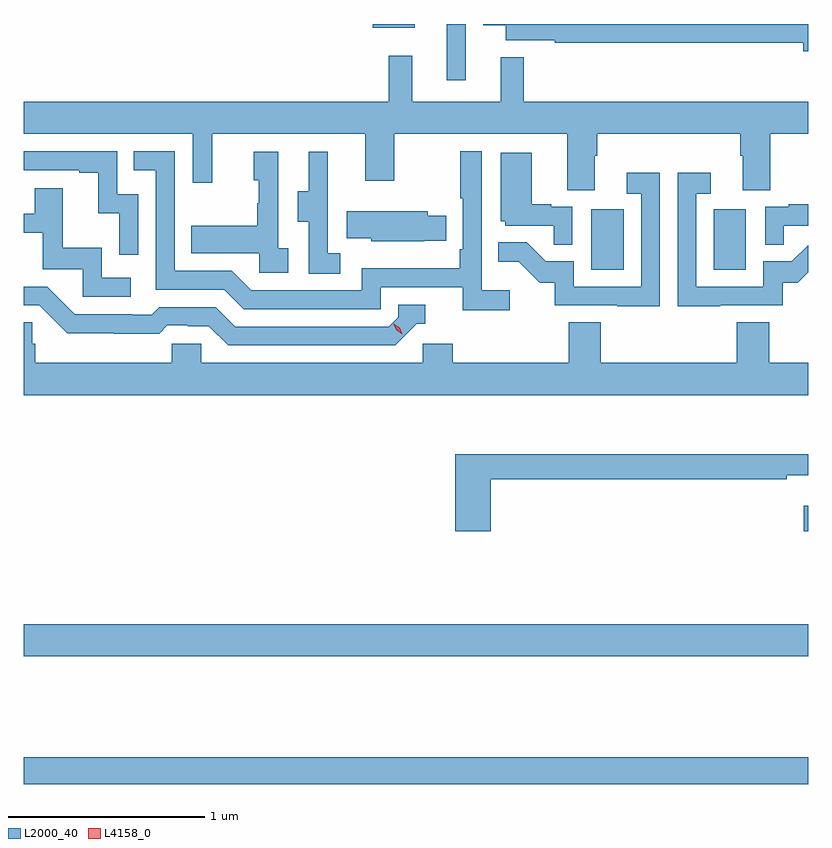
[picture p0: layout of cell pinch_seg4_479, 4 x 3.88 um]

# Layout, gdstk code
import gdstk
lib = gdstk.Library(unit=1e-6, precision=1e-09)
def R(c, l, rs):  # rectangles x0, y0, x1, y1
    for r in rs: c.add(gdstk.rectangle(r[:2], r[2:], *l))
def P(c, l, *ps):  # polygons
    for p in ps: c.add(gdstk.Polygon(p, *l))
L2000_40 = (2000, 40)
L4158_0 = (4158, 0)

pinch_seg4_479 = lib.new_cell('pinch_seg4_479')
R(pinch_seg4_479, L2000_40, [(921.929,749.548,925.929,749.684), (921.929,750.2,925.929,750.364), (925.908,750.838,925.929,750.967), (924.824,752.172,924.988,752.479), (925.448,752.172,925.612,752.479), (924.086,753.138,924.183,753.425), (923.708,753.407,923.923,753.425)])
P(pinch_seg4_479, L2000_40, [(925.929,753.425),(924.272,753.425),(924.272,753.419),(924.386,753.419),(924.386,753.341),(924.638,753.341),(924.638,753.33),(925.904,753.33),(925.904,753.287),(925.929,753.287)],
  [(923.791,753.028),(921.929,753.028),(921.929,752.864),(922.791,752.864),(922.791,752.616),(922.889,752.616),(922.889,752.864),(923.669,752.864),(923.669,752.625),(923.817,752.625),(923.817,752.864),(924.701,752.864),(924.701,752.578),(924.841,752.578),(924.841,752.752),(924.854,752.752),(924.854,752.864),(925.583,752.864),(925.583,752.752),(925.595,752.752),(925.595,752.578),(925.735,752.578),(925.735,752.864),(925.929,752.864),(925.929,753.028),(924.479,753.028),(924.479,753.256),(924.362,753.256),(924.362,753.028),(923.909,753.028),(923.909,753.262),(923.791,753.262)],
  [(924.406,752.068),(924.264,752.068),(924.264,752.776),(924.156,752.776),(924.156,752.536),(924.168,752.536),(924.168,752.275),(924.151,752.275),(924.151,752.179),(923.652,752.179),(923.652,752.067),(923.088,752.067),(922.989,752.166),(922.698,752.166),(922.698,752.775),(922.489,752.775),(922.489,752.679),(922.602,752.679),(922.602,752.07),(922.952,752.07),(923.051,751.971),(923.748,751.971),(923.748,752.082),(924.167,752.082),(924.167,751.966),(924.406,751.966)],
  [(922.512,752.556),(922.404,752.556),(922.404,752.775),(921.929,752.775),(921.929,752.679),(922.211,752.679),(922.211,752.667),(922.307,752.667),(922.307,752.459),(922.416,752.459),(922.416,752.247),(922.512,752.247)],
  [(923.278,752.282),(923.226,752.282),(923.226,752.773),(923.102,752.773),(923.102,752.628),(923.128,752.628),(923.128,752.51),(923.118,752.51),(923.118,752.395),(922.783,752.395),(922.783,752.255),(923.13,752.255),(923.13,752.157),(923.278,752.157)],
  [(923.542,752.255),(923.478,752.255),(923.478,752.559),(923.48,752.559),(923.48,752.773),(923.381,752.773),(923.381,752.571),(923.327,752.571),(923.327,752.416),(923.382,752.416),(923.382,752.152),(923.542,752.152)],
  [(924.726,752.493),(924.62,752.493),(924.62,752.506),(924.52,752.506),(924.52,752.767),(924.362,752.767),(924.362,752.418),(924.384,752.418),(924.384,752.397),(924.631,752.397),(924.631,752.299),(924.726,752.299)],
  [(925.173,752.665),(925.005,752.665),(925.005,752.559),(925.077,752.559),(925.077,752.085),(924.735,752.085),(924.735,752.214),(924.591,752.214),(924.493,752.312),(924.349,752.312),(924.349,752.213),(924.453,752.213),(924.56,752.106),(924.637,752.106),(924.637,751.989),(924.955,751.989),(924.955,751.984),(925.173,751.984)],
  [(925.481,751.989),(925.8,751.989),(925.8,752.106),(925.876,752.106),(925.929,752.159),(925.929,752.297),(925.846,752.214),(925.701,752.214),(925.701,752.085),(925.359,752.085),(925.359,752.559),(925.432,752.559),(925.432,752.665),(925.263,752.665),(925.263,751.984),(925.481,751.984)],
  [(922.474,752.13),(922.326,752.13),(922.326,752.284),(922.127,752.284),(922.127,752.587),(921.983,752.587),(921.983,752.457),(921.929,752.457),(921.929,752.361),(922.025,752.361),(922.025,752.175),(922.23,752.175),(922.23,752.034),(922.474,752.034)],
  [(925.805,752.397),(925.929,752.397),(925.929,752.506),(925.831,752.506),(925.831,752.493),(925.71,752.493),(925.71,752.299),(925.805,752.299)],
  [(923.972,752.319),(924.083,752.319),(924.083,752.448),(923.989,752.448),(923.989,752.47),(923.575,752.47),(923.575,752.333),(923.7,752.333),(923.7,752.318),(923.972,752.318)],
  [(923.934,751.896),(923.977,751.896),(923.977,751.992),(923.838,751.992),(923.838,751.929),(923.79,751.881),(923.007,751.881),(922.908,751.98),(922.619,751.98),(922.58,751.941),(922.481,751.941),(922.481,751.944),(922.188,751.944),(922.047,752.085),(921.929,752.085),(921.929,751.989),(922.008,751.989),(922.15,751.847),(922.386,751.847),(922.386,751.845),(922.619,751.845),(922.661,751.887),(922.764,751.887),(922.764,751.884),(922.871,751.884),(922.97,751.785),(923.823,751.785)],
  [(925.929,751.696),(925.73,751.696),(925.73,751.904),(925.565,751.904),(925.565,751.696),(924.872,751.696),(924.872,751.904),(924.707,751.904),(924.707,751.696),(924.116,751.696),(924.116,751.794),(923.964,751.794),(923.964,751.696),(922.833,751.696),(922.833,751.794),(922.683,751.794),(922.683,751.696),(921.986,751.696),(921.986,751.794),(921.971,751.794),(921.971,751.904),(921.929,751.904),(921.929,751.532),(925.929,751.532)],
  [(924.311,751.102),(925.82,751.102),(925.82,751.122),(925.929,751.122),(925.929,751.231),(924.128,751.231),(924.128,750.837),(924.311,750.837)])
P(pinch_seg4_479, L4158_0, [(923.86,751.842),(923.83,751.862),(923.814,751.895),(923.814,751.896),(923.815,751.896),(923.845,751.875),(923.86,751.842),(923.86,751.842)])

lib.write_gds('pinch_seg4_479.gds')
